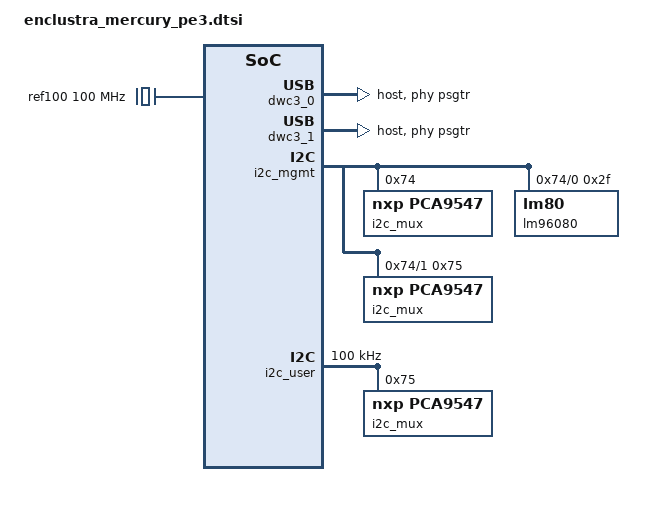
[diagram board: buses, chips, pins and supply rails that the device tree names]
#include <dt-bindings/phy/phy.h>

&dwc3_0 {
	dr_mode = "host";
	snps,usb3_lpm_capable;
	phy-names = "usb3-phy";
	phys = <&psgtr 2 PHY_TYPE_USB3 0 2>;
	maximum-speed = "super-speed";
};

&dwc3_1 {
	dr_mode = "host";
	snps,usb3_lpm_capable;
	phy-names = "usb3-phy";
	phys = <&psgtr 3 PHY_TYPE_USB3 1 2>;
	maximum-speed = "super-speed";
};

/* SD1 with level shifter */
&sdhci1 {
	no-1-8-v;	/* for 1.0 silicon */
	wp-inverted;
	xlnx,mio_bank = <1>;
};

&amba {
	ref100: ref100M {
		compatible = "fixed-clock";
		#clock-cells = <0>;
		clock-frequency = <100000000>;
	};
};

&i2c_mgmt {
	i2c_mux@74 {
		compatible = "nxp,pca9547";
		reg = <0x74>;
		i2c_mux@0 {
			reg = <0>;
			lm96080@2f {
					compatible = "lm80";
					reg = <0x2f >;
			};
		};
		i2c_mux@1 {
			reg = <1>;
			i2c_mux@75 {
					compatible = "nxp,pca9547";
					reg = <0x75>;
			};
		};
	};
};

&i2c_user {
	clock-frequency = <100000>;
	i2c_mux@75 {
		compatible = "nxp,pca9547";
		reg = <0x75>;
	};
};
